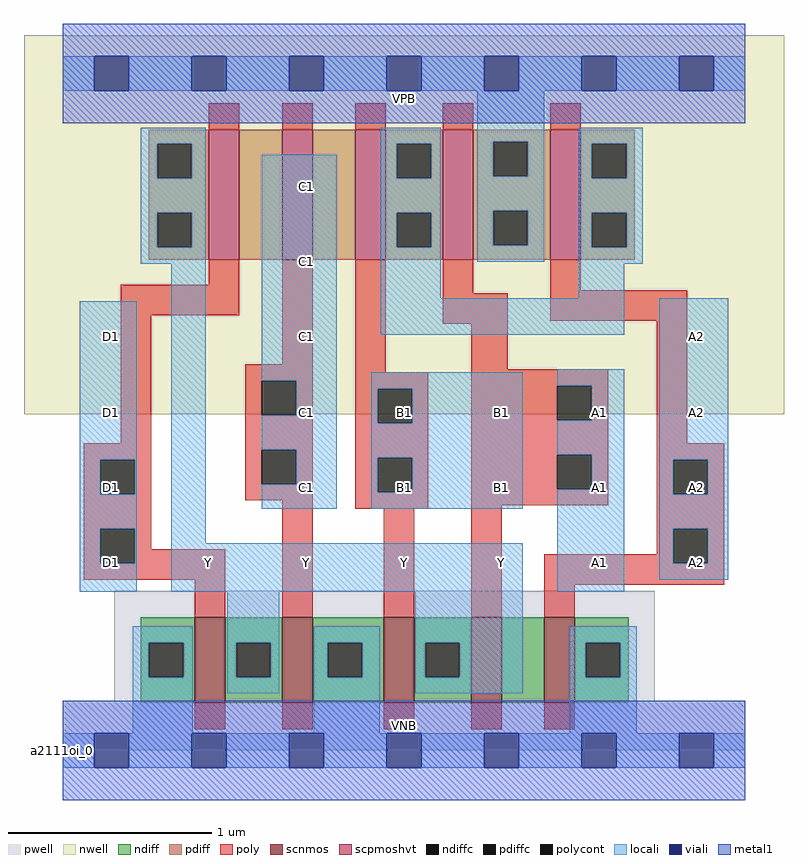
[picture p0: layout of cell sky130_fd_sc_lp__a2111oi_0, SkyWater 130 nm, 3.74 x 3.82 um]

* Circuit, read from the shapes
.subckt sky130_fd_sc_lp__a2111oi_0 A1 A2 B1 C1 D1 VGND VNB VPB VPWR Y
XM1 Y D1 VGND VNB sky130_fd_pr__nfet_01v8 w=0.42 l=0.15
XM2 VGND C1 Y VNB sky130_fd_pr__nfet_01v8 w=0.42 l=0.15
XM3 Y B1 VGND VNB sky130_fd_pr__nfet_01v8 w=0.42 l=0.15
XM4 n1 A1 Y VNB sky130_fd_pr__nfet_01v8 w=0.42 l=0.15
XM5 VGND A2 n1 VNB sky130_fd_pr__nfet_01v8 w=0.42 l=0.15
XM6 n2 D1 Y VPB sky130_fd_pr__pfet_01v8_hvt w=0.64 l=0.15
XM7 n3 C1 n2 VPB sky130_fd_pr__pfet_01v8_hvt w=0.64 l=0.15
XM8 n4 B1 n3 VPB sky130_fd_pr__pfet_01v8_hvt w=0.64 l=0.15
XM9 VPWR A1 n4 VPB sky130_fd_pr__pfet_01v8_hvt w=0.64 l=0.15
XM10 n4 A2 VPWR VPB sky130_fd_pr__pfet_01v8_hvt w=0.64 l=0.15
.ends

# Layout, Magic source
magic
tech sky130A
magscale 1 2
<< nwell >>
rect -38 331 710 704
<< pwell >>
rect 51 49 583 157
rect 0 0 672 49
<< scnmos >>
rect 130 47 160 131
rect 216 47 246 131
rect 316 47 346 131
rect 402 47 432 131
rect 474 47 504 131
<< scpmoshvt >>
rect 144 483 174 611
rect 216 483 246 611
rect 288 483 318 611
rect 374 483 404 611
rect 480 483 510 611
<< ndiff >>
rect 77 106 130 131
rect 77 72 85 106
rect 119 72 130 106
rect 77 47 130 72
rect 160 106 216 131
rect 160 72 171 106
rect 205 72 216 106
rect 160 47 216 72
rect 246 106 316 131
rect 246 72 261 106
rect 295 72 316 106
rect 246 47 316 72
rect 346 106 402 131
rect 346 72 357 106
rect 391 72 402 106
rect 346 47 402 72
rect 432 47 474 131
rect 504 106 557 131
rect 504 72 515 106
rect 549 72 557 106
rect 504 47 557 72
<< pdiff >>
rect 85 597 144 611
rect 85 563 93 597
rect 127 563 144 597
rect 85 529 144 563
rect 85 495 93 529
rect 127 495 144 529
rect 85 483 144 495
rect 174 483 216 611
rect 246 483 288 611
rect 318 597 374 611
rect 318 563 329 597
rect 363 563 374 597
rect 318 529 374 563
rect 318 495 329 529
rect 363 495 374 529
rect 318 483 374 495
rect 404 599 480 611
rect 404 565 424 599
rect 458 565 480 599
rect 404 531 480 565
rect 404 497 424 531
rect 458 497 480 531
rect 404 483 480 497
rect 510 597 563 611
rect 510 563 521 597
rect 555 563 563 597
rect 510 529 563 563
rect 510 495 521 529
rect 555 495 563 529
rect 510 483 563 495
<< ndiffc >>
rect 85 72 119 106
rect 171 72 205 106
rect 261 72 295 106
rect 357 72 391 106
rect 515 72 549 106
<< pdiffc >>
rect 93 563 127 597
rect 93 495 127 529
rect 329 563 363 597
rect 329 495 363 529
rect 424 565 458 599
rect 424 497 458 531
rect 521 563 555 597
rect 521 495 555 529
<< poly >>
rect 144 611 174 637
rect 216 611 246 637
rect 288 611 318 637
rect 374 611 404 637
rect 480 611 510 637
rect 144 458 174 483
rect 57 428 174 458
rect 57 302 87 428
rect 216 380 246 483
rect 21 286 87 302
rect 21 252 37 286
rect 71 252 87 286
rect 21 218 87 252
rect 180 364 246 380
rect 180 330 196 364
rect 230 330 246 364
rect 180 296 246 330
rect 180 262 196 296
rect 230 262 246 296
rect 180 246 246 262
rect 21 184 37 218
rect 71 198 87 218
rect 71 184 160 198
rect 21 168 160 184
rect 130 131 160 168
rect 216 131 246 246
rect 288 372 318 483
rect 374 450 404 483
rect 480 453 510 483
rect 374 420 438 450
rect 480 423 615 453
rect 402 375 438 420
rect 288 356 360 372
rect 288 322 310 356
rect 344 322 360 356
rect 288 288 360 322
rect 288 254 310 288
rect 344 254 360 288
rect 288 238 360 254
rect 402 359 537 375
rect 402 325 487 359
rect 521 325 537 359
rect 402 291 537 325
rect 402 257 487 291
rect 521 257 537 291
rect 402 241 537 257
rect 585 302 615 423
rect 585 286 651 302
rect 585 252 601 286
rect 635 252 651 286
rect 316 131 346 238
rect 402 131 432 241
rect 585 218 651 252
rect 585 193 601 218
rect 474 184 601 193
rect 635 184 651 218
rect 474 163 651 184
rect 474 131 504 163
rect 130 21 160 47
rect 216 21 246 47
rect 316 21 346 47
rect 402 21 432 47
rect 474 21 504 47
<< polycont >>
rect 37 252 71 286
rect 196 330 230 364
rect 196 262 230 296
rect 37 184 71 218
rect 310 322 344 356
rect 310 254 344 288
rect 487 325 521 359
rect 487 257 521 291
rect 601 252 635 286
rect 601 184 635 218
<< locali >>
rect 0 649 31 683
rect 65 649 127 683
rect 161 649 223 683
rect 257 649 319 683
rect 353 649 415 683
rect 449 649 511 683
rect 545 649 607 683
rect 641 649 672 683
rect 77 597 141 613
rect 77 563 93 597
rect 127 563 141 597
rect 313 597 372 613
rect 77 529 141 563
rect 77 495 93 529
rect 127 495 141 529
rect 77 479 141 495
rect 17 286 73 442
rect 17 252 37 286
rect 71 252 73 286
rect 17 218 73 252
rect 17 184 37 218
rect 71 184 73 218
rect 17 156 73 184
rect 107 204 141 479
rect 196 364 270 586
rect 313 563 329 597
rect 363 563 372 597
rect 313 529 372 563
rect 313 495 329 529
rect 363 495 372 529
rect 313 445 372 495
rect 408 599 474 649
rect 408 565 424 599
rect 458 565 474 599
rect 408 531 474 565
rect 408 497 424 531
rect 458 497 474 531
rect 408 481 474 497
rect 508 597 571 613
rect 508 563 521 597
rect 555 563 571 597
rect 508 529 571 563
rect 508 495 521 529
rect 555 495 571 529
rect 508 479 571 495
rect 508 445 553 479
rect 313 409 553 445
rect 230 330 270 364
rect 196 296 270 330
rect 230 262 270 296
rect 196 238 270 262
rect 304 356 453 372
rect 304 322 310 356
rect 344 322 453 356
rect 304 288 453 322
rect 304 254 310 288
rect 344 254 453 288
rect 304 238 453 254
rect 487 359 553 375
rect 521 325 553 359
rect 487 291 553 325
rect 521 257 553 291
rect 107 156 453 204
rect 487 156 553 257
rect 587 286 655 445
rect 587 252 601 286
rect 635 252 655 286
rect 587 218 655 252
rect 587 184 601 218
rect 635 184 655 218
rect 587 168 655 184
rect 69 106 128 122
rect 69 72 85 106
rect 119 72 128 106
rect 69 17 128 72
rect 162 106 213 156
rect 162 72 171 106
rect 205 72 213 106
rect 162 56 213 72
rect 247 106 312 122
rect 247 72 261 106
rect 295 72 312 106
rect 247 17 312 72
rect 347 106 453 156
rect 347 72 357 106
rect 391 72 453 106
rect 347 56 453 72
rect 499 106 565 122
rect 499 72 515 106
rect 549 72 565 106
rect 499 17 565 72
rect 0 -17 31 17
rect 65 -17 127 17
rect 161 -17 223 17
rect 257 -17 319 17
rect 353 -17 415 17
rect 449 -17 511 17
rect 545 -17 607 17
rect 641 -17 672 17
<< viali >>
rect 31 649 65 683
rect 127 649 161 683
rect 223 649 257 683
rect 319 649 353 683
rect 415 649 449 683
rect 511 649 545 683
rect 607 649 641 683
rect 31 -17 65 17
rect 127 -17 161 17
rect 223 -17 257 17
rect 319 -17 353 17
rect 415 -17 449 17
rect 511 -17 545 17
rect 607 -17 641 17
<< metal1 >>
rect 0 683 672 715
rect 0 649 31 683
rect 65 649 127 683
rect 161 649 223 683
rect 257 649 319 683
rect 353 649 415 683
rect 449 649 511 683
rect 545 649 607 683
rect 641 649 672 683
rect 0 617 672 649
rect 0 17 672 49
rect 0 -17 31 17
rect 65 -17 127 17
rect 161 -17 223 17
rect 257 -17 319 17
rect 353 -17 415 17
rect 449 -17 511 17
rect 545 -17 607 17
rect 641 -17 672 17
rect 0 -49 672 -17
<< labels >>
flabel pwell s 0 0 672 49 0 FreeSans 200 0 0 0 VNB
port 7 nsew ground bidirectional
flabel nwell s 0 617 672 666 0 FreeSans 200 0 0 0 VPB
port 8 nsew power bidirectional
rlabel comment s 0 0 0 0 4 a2111oi_0
flabel metal1 s 0 617 672 666 0 FreeSans 340 0 0 0 VPWR
port 9 nsew power bidirectional
flabel metal1 s 0 0 672 49 0 FreeSans 340 0 0 0 VGND
port 6 nsew ground bidirectional
flabel locali s 511 168 545 202 0 FreeSans 340 0 0 0 A1
port 1 nsew signal input
flabel locali s 511 242 545 276 0 FreeSans 340 0 0 0 A1
port 1 nsew signal input
flabel locali s 511 316 545 350 0 FreeSans 340 0 0 0 A1
port 1 nsew signal input
flabel locali s 607 168 641 202 0 FreeSans 340 0 0 0 A2
port 2 nsew signal input
flabel locali s 607 242 641 276 0 FreeSans 340 0 0 0 A2
port 2 nsew signal input
flabel locali s 607 316 641 350 0 FreeSans 340 0 0 0 A2
port 2 nsew signal input
flabel locali s 607 390 641 424 0 FreeSans 340 0 0 0 A2
port 2 nsew signal input
flabel locali s 319 242 353 276 0 FreeSans 340 0 0 0 B1
port 3 nsew signal input
flabel locali s 319 316 353 350 0 FreeSans 340 0 0 0 B1
port 3 nsew signal input
flabel locali s 223 242 257 276 0 FreeSans 340 0 0 0 C1
port 4 nsew signal input
flabel locali s 223 316 257 350 0 FreeSans 340 0 0 0 C1
port 4 nsew signal input
flabel locali s 223 390 257 424 0 FreeSans 340 0 0 0 C1
port 4 nsew signal input
flabel locali s 223 464 257 498 0 FreeSans 340 0 0 0 C1
port 4 nsew signal input
flabel locali s 223 538 257 572 0 FreeSans 340 0 0 0 C1
port 4 nsew signal input
flabel locali s 31 168 65 202 0 FreeSans 340 0 0 0 D1
port 5 nsew signal input
flabel locali s 31 242 65 276 0 FreeSans 340 0 0 0 D1
port 5 nsew signal input
flabel locali s 31 316 65 350 0 FreeSans 340 0 0 0 D1
port 5 nsew signal input
flabel locali s 31 390 65 424 0 FreeSans 340 0 0 0 D1
port 5 nsew signal input
flabel locali s 127 168 161 202 0 FreeSans 340 0 0 0 Y
port 10 nsew signal output
flabel locali s 223 168 257 202 0 FreeSans 340 0 0 0 Y
port 10 nsew signal output
flabel locali s 319 168 353 202 0 FreeSans 340 0 0 0 Y
port 10 nsew signal output
flabel locali s 415 168 449 202 0 FreeSans 340 0 0 0 Y
port 10 nsew signal output
flabel locali s 415 242 449 276 0 FreeSans 340 0 0 0 B1
port 3 nsew signal input
flabel locali s 415 316 449 350 0 FreeSans 340 0 0 0 B1
port 3 nsew signal input
<< properties >>
string LEFsite unit
string LEFclass CORE
string FIXED_BBOX 0 0 672 666
string GDS_FILE $PDKPATH/libs.ref/sky130_fd_sc_lp/gds/sky130_fd_sc_lp.gds
string LEFsymmetry X Y R90
string GDS_END 4883044
string GDS_START 4874708
<< end >>
